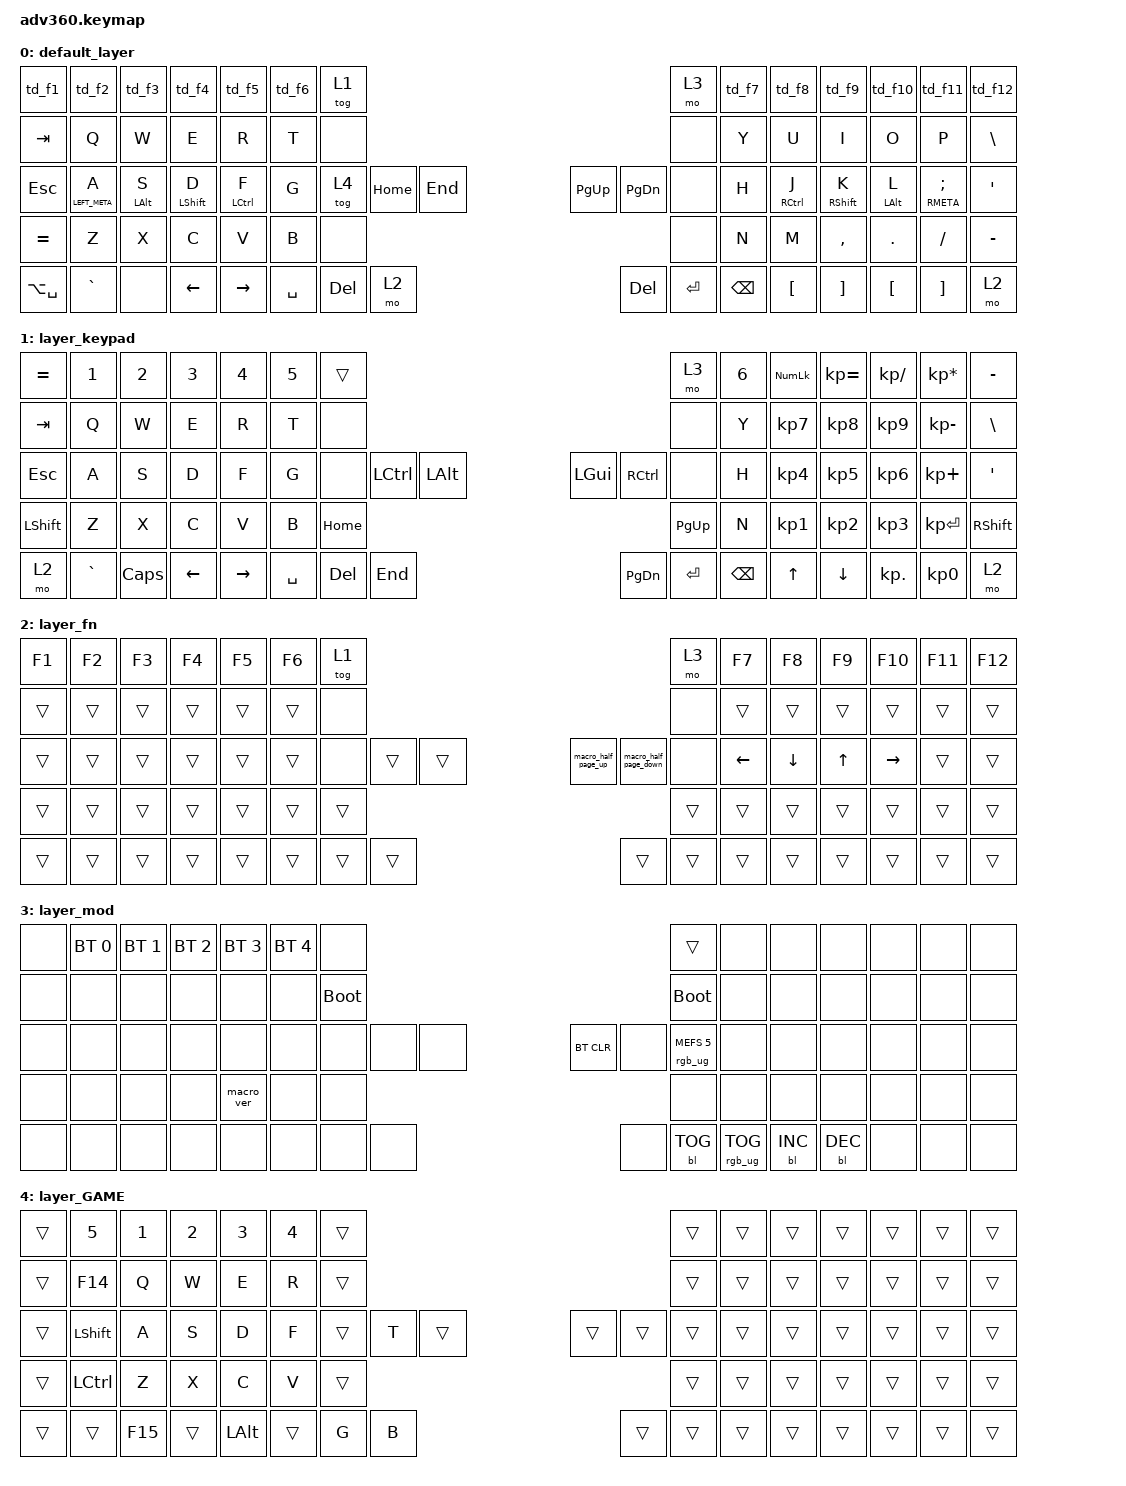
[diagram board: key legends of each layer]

/*
 * Copyright (c) 2020 The ZMK Contributors
 *
 * SPDX-License-Identifier: MIT
 */


/* THIS FILE WAS GENERATED!
 *
 * This file was generated automatically. You may or may not want to
 * edit it directly.
 */

#include <behaviors.dtsi>
#include <dt-bindings/zmk/keys.h>
#include <dt-bindings/zmk/bt.h>
#include <dt-bindings/zmk/rgb.h>
#include <dt-bindings/zmk/backlight.h>

#define TD_BEHAVIOR(name, first, second) \
    name: name { \
        compatible = "zmk,behavior-tap-dance"; \
        #binding-cells = <0>; \
        tapping-term-ms = <180>; \
        bindings = <&kp first>, <&kp second>; \
    };

/ {
  behaviors {
    #include "macros.dtsi"
    #include "version.dtsi"

    hm: homerow_mods {
        compatible = "zmk,behavior-hold-tap";
        label = "HOMEROW_MODS";
        #binding-cells = <2>;
        tapping-term-ms = <200>;
        quick_tap_ms = <175>;
        flavor = "tap-preferred";
        bindings = <&kp>, <&kp>;
    };

    TD_BEHAVIOR(td_f1, CAPS, F1)
    TD_BEHAVIOR(td_f2, N1, F2)
    TD_BEHAVIOR(td_f3, N2, F3)
    TD_BEHAVIOR(td_f4, N3, F4)
    TD_BEHAVIOR(td_f5, N4, F5)
    TD_BEHAVIOR(td_f6, N5, F6)
    TD_BEHAVIOR(td_f7, N6, F7)
    TD_BEHAVIOR(td_f8, N7, F8)
    TD_BEHAVIOR(td_f9, N8, F9)
    TD_BEHAVIOR(td_f10, N9, F10)
    TD_BEHAVIOR(td_f11, N0, F11)
    TD_BEHAVIOR(td_f12, PSCRN, F12)
  };

    keymap {
        compatible = "zmk,keymap";

        default_layer {
            bindings = <
       &td_f1            &td_f2      &td_f3            &td_f4              &td_f5  &td_f6               &tog 1                                                                   &mo 3  &td_f7            &td_f8             &td_f9          &td_f10               &td_f11  &td_f12
       &kp TAB            &kp Q       &kp W             &kp E               &kp R   &kp T                &none                                                                   &none   &kp Y             &kp U              &kp I           &kp O                &kp P    &kp BACKSLASH
       &kp ESC  &hm LEFT_META A  &hm LALT S  &hm LEFT_SHIFT D  &hm LEFT_CONTROL F   &kp G               &tog 4  &kp HOME  &kp END                  &kp PG_UP  &kp PG_DN          &none   &kp H       &hm RCTRL J       &hm RSHIFT K  &hm LEFT_ALT L  &hm RMETA SEMICOLON          &kp SQT
     &kp EQUAL            &kp Z       &kp X             &kp C               &kp V   &kp B                                   &none                      &none                             &kp N             &kp M          &kp COMMA         &kp DOT             &kp FSLH        &kp MINUS
 &kp LA(SPACE)        &kp GRAVE       &none          &kp LEFT           &kp RIGHT                    &kp SPACE   &kp DEL    &mo 2                    &kp DEL  &kp ENTER  &kp BACKSPACE          &kp LEFT_BRACKET  &kp RIGHT_BRACKET        &kp LBKT             &kp RBKT            &mo 2
            >;
        };

        layer_keypad {
            bindings = <
 &kp EQUAL     &kp N1    &kp N2    &kp N3     &kp N4  &kp N5               &trans                                                                     &mo 3  &kp N6  &kp KP_NUM  &kp KP_EQUAL  &kp KP_DIVIDE  &kp KP_MULTIPLY  &kp MINUS
   &kp TAB      &kp Q     &kp W     &kp E      &kp R   &kp T                &none                                                                     &none   &kp Y   &kp KP_N7     &kp KP_N8      &kp KP_N9     &kp KP_MINUS   &kp BSLH
   &kp ESC      &kp A     &kp S     &kp D      &kp F   &kp G                &none  &kp LCTRL  &kp LALT                   &kp LGUI  &kp RCTRL          &none   &kp H   &kp KP_N4     &kp KP_N5      &kp KP_N6      &kp KP_PLUS    &kp SQT
 &kp LSHFT      &kp Z     &kp X     &kp C      &kp V   &kp B                                  &kp HOME                  &kp PG_UP                             &kp N   &kp KP_N1     &kp KP_N2      &kp KP_N3     &kp KP_ENTER  &kp RSHFT
     &mo 2  &kp GRAVE  &kp CAPS  &kp LEFT  &kp RIGHT                    &kp SPACE    &kp DEL   &kp END                  &kp PG_DN  &kp ENTER  &kp BACKSPACE              &kp UP      &kp DOWN     &kp KP_DOT        &kp KP_N0      &mo 2
            >;
        };

        layer_fn {
            bindings = <
 &kp F1  &kp F2  &kp F3  &kp F4  &kp F5  &kp F6            &tog 1                                                                               &mo 3          &kp F7          &kp F8        &kp F9          &kp F10  &kp F11  &kp F12
 &trans  &trans  &trans  &trans  &trans  &trans             &none                                                                               &none          &trans          &trans        &trans           &trans   &trans   &trans
 &trans  &trans  &trans  &trans  &trans  &trans             &none  &trans  &trans                  &macro_half_page_up  &macro_half_page_down   &none  &kp LEFT_ARROW  &kp DOWN_ARROW  &kp UP_ARROW  &kp RIGHT_ARROW   &trans   &trans
 &trans  &trans  &trans  &trans  &trans  &trans                            &trans                               &trans                                         &trans          &trans        &trans           &trans   &trans   &trans
 &trans  &trans  &trans  &trans  &trans                    &trans  &trans  &trans                               &trans                 &trans  &trans                          &trans        &trans           &trans   &trans   &trans
            >;
        };

        layer_mod {
            bindings = <
  &none  &bt BT_SEL 0  &bt BT_SEL 1  &bt BT_SEL 2  &bt BT_SEL 3  &bt BT_SEL 4                  &none                                                                          &trans   &none       &none       &none   &none   &none   &none
  &none         &none         &none         &none         &none         &none            &bootloader                                                                     &bootloader   &none       &none       &none   &none   &none   &none
  &none         &none         &none         &none         &none         &none                  &none   &none   &none                  &bt BT_CLR       &none  &rgb_ug RGB_MEFS_CMD 5   &none       &none       &none   &none   &none   &none
  &none         &none         &none         &none    &macro_ver         &none                                  &none                       &none                                       &none       &none       &none   &none   &none   &none
  &none         &none         &none         &none         &none                                &none   &none   &none                       &none  &bl BL_TOG         &rgb_ug RGB_TOG          &bl BL_INC  &bl BL_DEC   &none   &none   &none
            >;
        };

        layer_GAME {
            bindings = <
 &trans          &kp N5   &kp N1  &kp N2        &kp N3  &kp N4            &trans                                                  &trans  &trans  &trans  &trans  &trans  &trans  &trans
 &trans         &kp F14    &kp Q   &kp W         &kp E   &kp R            &trans                                                  &trans  &trans  &trans  &trans  &trans  &trans  &trans
 &trans  &kp LEFT_SHIFT    &kp A   &kp S         &kp D   &kp F            &trans   &kp T  &trans                  &trans  &trans  &trans  &trans  &trans  &trans  &trans  &trans  &trans
 &trans       &kp LCTRL    &kp Z   &kp X         &kp C   &kp V                            &trans                  &trans                  &trans  &trans  &trans  &trans  &trans  &trans
 &trans          &trans  &kp F15  &trans  &kp LEFT_ALT                    &trans   &kp G   &kp B                  &trans  &trans  &trans          &trans  &trans  &trans  &trans  &trans
            >;
        };

    };
};
